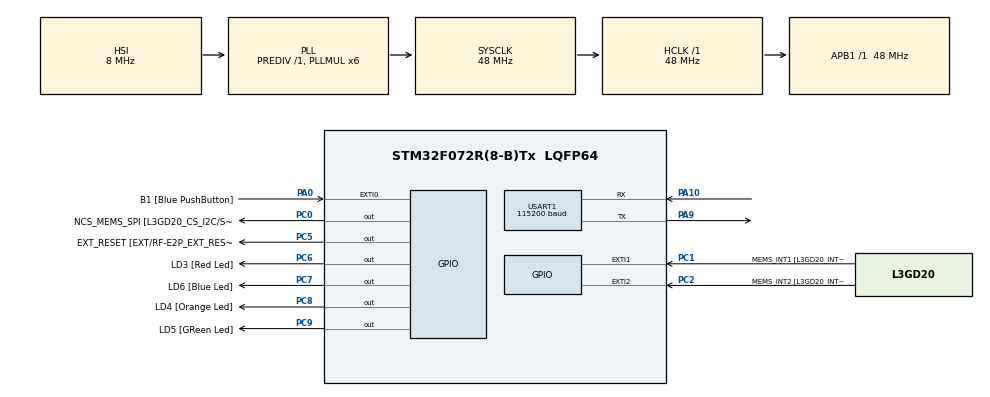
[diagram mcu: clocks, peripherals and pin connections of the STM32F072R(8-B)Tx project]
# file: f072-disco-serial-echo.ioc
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Mcu.Family=STM32F0
Mcu.Name=STM32F072R(8-B)Tx
Mcu.Package=LQFP64
NVIC.USART1_IRQn=true\:0\:0\:false\:false\:true\:true
PA0.GPIO_Label=B1 [Blue PushButton]
PA0.GPIO_ModeDefaultEXTI=GPIO_MODE_EVT_RISING
PA0.Signal=GPXTI0
PA10.Mode=Asynchronous
PA10.Signal=USART1_RX
PA11.GPIO_Label=USBF4_DM
PA11.Signal=USB_DM
PA12.GPIO_Label=USBF4_DP
PA12.Signal=USB_DP
PA13.GPIO_Label=SWDIO
PA13.Signal=SYS_SWDIO
PA14.GPIO_Label=SWCLK
PA14.Signal=SYS_SWCLK
PA2.Signal=TSC_G1_IO3
PA3.Signal=TSC_G1_IO4
PA6.Signal=TSC_G2_IO3
PA7.Signal=TSC_G2_IO4
PA9.Mode=Asynchronous
PA9.Signal=USART1_TX
PB0.Signal=TSC_G3_IO2
PB1.Signal=TSC_G3_IO3
PB10.GPIO_Label=I2C2_SCL[EXT/RF-E2P_SCL]
PB10.Signal=I2C2_SCL
PB11.GPIO_Label=I2C2_SDA[EXT/RF-E2P_SDA]
PB11.Signal=I2C2_SDA
PB13.GPIO_Label=SPI2_SCK [L3GD20_SCL/SPC]
PB13.Signal=SPI2_SCK
PB14.GPIO_Label=SPI2_MISO [L3GD20_SDO]
PB14.Signal=SPI2_MISO
PB15.GPIO_Label=SPI2_MOSI [L3GD20_SDA/SDI]
PB15.Signal=SPI2_MOSI
PC0.GPIO_Label=NCS_MEMS_SPI [L3GD20_CS_I2C/SPI]
PC0.Signal=GPIO_Output
PC1.GPIO_Label=MEMS_INT1 [L3GD20_INT1]
PC1.GPIO_ModeDefaultEXTI=GPIO_MODE_EVT_RISING
PC1.Signal=GPXTI1
PC2.GPIO_Label=MEMS_INT2 [L3GD20_INT2]
PC2.GPIO_ModeDefaultEXTI=GPIO_MODE_EVT_RISING
PC2.Signal=GPXTI2
PC5.GPIO_Label=EXT_RESET [EXT/RF-E2P_EXT_RESET]
PC5.Signal=GPIO_Output
PC6.GPIO_Label=LD3 [Red Led]
PC6.Signal=GPIO_Output
PC7.GPIO_Label=LD6 [Blue Led]
PC7.Signal=GPIO_Output
PC8.GPIO_Label=LD4 [Orange Led]
PC8.Signal=GPIO_Output
PC9.GPIO_Label=LD5 [GReen Led]
PC9.Signal=GPIO_Output
ProjectManager.HeapSize=0x200
ProjectManager.StackSize=0x400
ProjectManager.TargetToolchain=SW4STM32
RCC.AHBFreq_Value=48000000
RCC.APB1Freq_Value=48000000
RCC.APB1TimFreq_Value=48000000
RCC.HCLKFreq_Value=48000000
RCC.PLLMUL=RCC_PLL_MUL6
RCC.SYSCLKFreq_VALUE=48000000
RCC.SYSCLKSource=RCC_SYSCLKSOURCE_PLLCLK
USART1.BaudRate=115200
USART1.VirtualMode-Asynchronous=VM_ASYNC
USART1.WordLength=WORDLENGTH_8B
board=STM32F072B-DISCO

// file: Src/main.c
/**
 ******************************************************************************
 * File Name          : main.c
 * Description        : Main program body
 ******************************************************************************
 ** This notice applies to any and all portions of this file
 * that are not between comment pairs USER CODE BEGIN and
 * USER CODE END. Other portions of this file, whether
 * inserted by the user or by software development tools
 * are owned by their respective copyright owners.
 *
 * COPYRIGHT(c) 2018 STMicroelectronics
 *
 * Redistribution and use in source and binary forms, with or without modification,
 * are permitted provided that the following conditions are met:
 *   1. Redistributions of source code must retain the above copyright notice,
 *      this list of conditions and the following disclaimer.
 *   2. Redistributions in binary form must reproduce the above copyright notice,
 *      this list of conditions and the following disclaimer in the documentation
 *      and/or other materials provided with the distribution.
 *   3. Neither the name of STMicroelectronics nor the names of its contributors
 *      may be used to endorse or promote products derived from this software
 *      without specific prior written permission.
 *
 * THIS SOFTWARE IS PROVIDED BY THE COPYRIGHT HOLDERS AND CONTRIBUTORS "AS IS"
 * AND ANY EXPRESS OR IMPLIED WARRANTIES, INCLUDING, BUT NOT LIMITED TO, THE
 * IMPLIED WARRANTIES OF MERCHANTABILITY AND FITNESS FOR A PARTICULAR PURPOSE ARE
 * DISCLAIMED. IN NO EVENT SHALL THE COPYRIGHT HOLDER OR CONTRIBUTORS BE LIABLE
 * FOR ANY DIRECT, INDIRECT, INCIDENTAL, SPECIAL, EXEMPLARY, OR CONSEQUENTIAL
 * DAMAGES (INCLUDING, BUT NOT LIMITED TO, PROCUREMENT OF SUBSTITUTE GOODS OR
 * SERVICES; LOSS OF USE, DATA, OR PROFITS; OR BUSINESS INTERRUPTION) HOWEVER
 * CAUSED AND ON ANY THEORY OF LIABILITY, WHETHER IN CONTRACT, STRICT LIABILITY,
 * OR TORT (INCLUDING NEGLIGENCE OR OTHERWISE) ARISING IN ANY WAY OUT OF THE USE
 * OF THIS SOFTWARE, EVEN IF ADVISED OF THE POSSIBILITY OF SUCH DAMAGE.
 *
 ******************************************************************************
 */

#include "main.h"
#include "stm32f0xx_hal.h"
#include "usart.h"
#include "gpio.h"

/* USER CODE BEGIN Includes */
#include "libsparse.h"
/* USER CODE END Includes */

/* USER CODE BEGIN PV */
/* Private variables ---------------------------------------------------------*/
sparse_ParserTypeDef *parser;
volatile uint8_t new_cmd_flag = 0;
char it_cmd_buffer[256] = { ' ' };
volatile uint8_t it_cmd_buf_cnt = 0;
char *sys_cmd_buffer = NULL;
/* USER CODE END PV */

void SystemClock_Config(void);

/* USER CODE BEGIN PFP */
/* Private function prototypes -----------------------------------------------*/
extern void initialise_monitor_handles(void);
/* USER CODE END PFP */

/* USER CODE BEGIN 0 */

HAL_UART_RxCpltCallback(UART_HandleTypeDef *huart) {
	char c = it_cmd_buffer[it_cmd_buf_cnt];
	//printf("%c\n", c);

	if (c == '\n') {
		new_cmd_flag = 1;
	} else {
		//it_cmd_buffer[it_cmd_buf_cnt] = c;
		it_cmd_buf_cnt++;
		if(HAL_UART_Receive_IT(&huart1, &it_cmd_buffer[it_cmd_buf_cnt], 1) != HAL_OK){
			_Error_Handler(__FILE__,__LINE__);
		}
	}
}

//void USART1_CharReception_Callback(USART_TypeDef *USARTx) {
//	char c = (char) LL_USART_ReceiveData8(USARTx);
//	printf("Received character \"%c\"\n.", c);
//
//	if (c == '\n') {
//		printf("Received string \"%s\"\n.", it_cmd_buffer);
//		new_cmd_flag = 1;
//	} else {
//		it_cmd_buffer[it_cmd_buf_cnt] = c;
//		it_cmd_buf_cnt++;
//	}
//}

void ProcessCmdBuffer(void) {
	printf("Received string \"%s\"\n", it_cmd_buffer);
	if (sys_cmd_buffer != NULL) {
		free(sys_cmd_buffer);
	}
	sys_cmd_buffer = calloc(it_cmd_buf_cnt, sizeof(char));
	strncpy(sys_cmd_buffer, it_cmd_buffer, it_cmd_buf_cnt);
	memset(it_cmd_buffer, ' ', it_cmd_buf_cnt);
	/* Resetting the count here means that commands sent in rapid succession
	 * may be missed by controller. A sufficient processing timeout should
	 * be measured and specified in the usage manual for this firmware revision. */
	it_cmd_buf_cnt = 0;
	new_cmd_flag = 0;
	if(HAL_UART_Receive_IT(&huart1, &it_cmd_buffer[it_cmd_buf_cnt], 1) != HAL_OK){
		_Error_Handler(__FILE__,__LINE__);
	}
}

sparse_StatusTypeDef ChangeLedColorCallback(sparse_ArgPack *a) {
	uint8_t color = atoi(a->arg_list[0]);
	/* No need to bounds check here as we cannot store values
	 * less than zero or greater than 4294967296 in type uint32_t. */
	switch (color) {
	case COLOR_GREEN:
		HAL_GPIO_WritePin(LD3_GPIO_Port, LD3_Pin, GPIO_PIN_RESET);
		HAL_GPIO_WritePin(LD4_GPIO_Port, LD4_Pin, GPIO_PIN_RESET);
		HAL_GPIO_WritePin(LD5_GPIO_Port, LD5_Pin, GPIO_PIN_SET);
		HAL_GPIO_WritePin(LD6_GPIO_Port, LD6_Pin, GPIO_PIN_RESET);
		break;
	case COLOR_ORANGE:
		HAL_GPIO_WritePin(LD3_GPIO_Port, LD3_Pin, GPIO_PIN_RESET);
		HAL_GPIO_WritePin(LD4_GPIO_Port, LD4_Pin, GPIO_PIN_SET);
		HAL_GPIO_WritePin(LD5_GPIO_Port, LD5_Pin, GPIO_PIN_RESET);
		HAL_GPIO_WritePin(LD6_GPIO_Port, LD6_Pin, GPIO_PIN_RESET);
		break;
	case COLOR_BLUE:
		HAL_GPIO_WritePin(LD3_GPIO_Port, LD3_Pin, GPIO_PIN_RESET);
		HAL_GPIO_WritePin(LD4_GPIO_Port, LD4_Pin, GPIO_PIN_RESET);
		HAL_GPIO_WritePin(LD5_GPIO_Port, LD5_Pin, GPIO_PIN_RESET);
		HAL_GPIO_WritePin(LD6_GPIO_Port, LD6_Pin, GPIO_PIN_SET);
		break;
	case COLOR_RED:
		HAL_GPIO_WritePin(LD3_GPIO_Port, LD3_Pin, GPIO_PIN_SET);
		HAL_GPIO_WritePin(LD4_GPIO_Port, LD4_Pin, GPIO_PIN_RESET);
		HAL_GPIO_WritePin(LD5_GPIO_Port, LD5_Pin, GPIO_PIN_RESET);
		HAL_GPIO_WritePin(LD6_GPIO_Port, LD6_Pin, GPIO_PIN_RESET);
		break;
	default:
		printf("Error. Invalid color (%d) specified. Valid colors are in {0, 1, 2, 3}\n", color);
	}

	return SPARSE_OK;
}

/* USER CODE END 0 */

int main(void) {

	/* MCU Configuration----------------------------------------------------------*/

	/* Reset of all peripherals, Initializes the Flash interface and the Systick. */
	HAL_Init();

	/* Configure the system clock */
	SystemClock_Config();

	/* Initialize all configured peripherals */
	MX_GPIO_Init();
	MX_USART1_UART_Init();

	/* USER CODE BEGIN 2 */
	initialise_monitor_handles();
	/* USER CODE END 2 */

	/* Infinite loop */
	/* USER CODE BEGIN WHILE */
	/* Configure command parser */
	parser = sparse_New();
	parser->delimiter = ',';
	parser->line_end = '\n';
	sparse_RegisterCallback(parser, 'C', 1, ChangeLedColorCallback);

	if(HAL_UART_Receive_IT(&huart1, &it_cmd_buffer[0], 1) != HAL_OK){
		_Error_Handler(__FILE__,__LINE__);
	}
	while (1) {
		/* USER CODE END WHILE */

		/* USER CODE BEGIN 3 */
		if (new_cmd_flag) {
			ProcessCmdBuffer();
			sparse_Exec(parser, sys_cmd_buffer);
			/* Don't free buffer here. Free in interrupt, just before reassignment. */
			//free(sys_cmd_buffer);
		}

	}
	/* USER CODE END 3 */

}

/** System Clock Configuration
 */
void SystemClock_Config(void) {

	RCC_OscInitTypeDef RCC_OscInitStruct;
	RCC_ClkInitTypeDef RCC_ClkInitStruct;
	RCC_PeriphCLKInitTypeDef PeriphClkInit;

	/**Initializes the CPU, AHB and APB busses clocks
	 */
	RCC_OscInitStruct.OscillatorType = RCC_OSCILLATORTYPE_HSI;
	RCC_OscInitStruct.HSIState = RCC_HSI_ON;
	RCC_OscInitStruct.HSICalibrationValue = 16;
	RCC_OscInitStruct.PLL.PLLState = RCC_PLL_ON;
	RCC_OscInitStruct.PLL.PLLSource = RCC_PLLSOURCE_HSI;
	RCC_OscInitStruct.PLL.PLLMUL = RCC_PLL_MUL6;
	RCC_OscInitStruct.PLL.PREDIV = RCC_PREDIV_DIV1;
	if (HAL_RCC_OscConfig(&RCC_OscInitStruct) != HAL_OK) {
		_Error_Handler(__FILE__, __LINE__);
	}

	/**Initializes the CPU, AHB and APB busses clocks
	 */
	RCC_ClkInitStruct.ClockType = RCC_CLOCKTYPE_HCLK | RCC_CLOCKTYPE_SYSCLK
			| RCC_CLOCKTYPE_PCLK1;
	RCC_ClkInitStruct.SYSCLKSource = RCC_SYSCLKSOURCE_PLLCLK;
	RCC_ClkInitStruct.AHBCLKDivider = RCC_SYSCLK_DIV1;
	RCC_ClkInitStruct.APB1CLKDivider = RCC_HCLK_DIV1;

	if (HAL_RCC_ClockConfig(&RCC_ClkInitStruct, FLASH_LATENCY_1) != HAL_OK) {
		_Error_Handler(__FILE__, __LINE__);
	}

	PeriphClkInit.PeriphClockSelection = RCC_PERIPHCLK_USART1;
	PeriphClkInit.Usart1ClockSelection = RCC_USART1CLKSOURCE_PCLK1;
	if (HAL_RCCEx_PeriphCLKConfig(&PeriphClkInit) != HAL_OK) {
		_Error_Handler(__FILE__, __LINE__);
	}

	/**Configure the Systick interrupt time
	 */
	HAL_SYSTICK_Config(HAL_RCC_GetHCLKFreq() / 1000);

	/**Configure the Systick
	 */
	HAL_SYSTICK_CLKSourceConfig(SYSTICK_CLKSOURCE_HCLK);

	/* SysTick_IRQn interrupt configuration */
	HAL_NVIC_SetPriority(SysTick_IRQn, 0, 0);
}

void _Error_Handler(char * file, int line) {
	/* USER CODE BEGIN Error_Handler_Debug */
	/* User can add his own implementation to report the HAL error return state */
	printf("Error at %s, %d.\n", file, line);
	while (1) {
	}
	/* USER CODE END Error_Handler_Debug */
}

/************************ (C) COPYRIGHT STMicroelectronics *****END OF FILE****/
